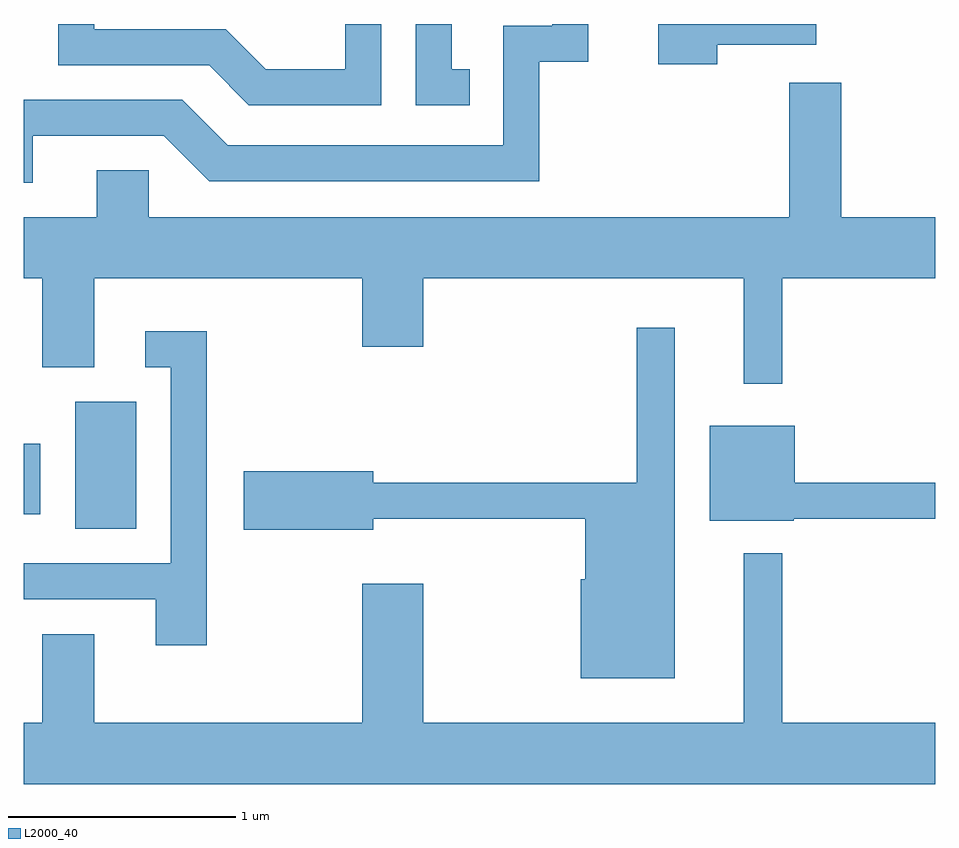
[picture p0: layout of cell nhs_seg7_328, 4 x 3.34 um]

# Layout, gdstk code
import gdstk
lib = gdstk.Library(unit=1e-6, precision=1e-09)
def R(c, l, rs):  # rectangles x0, y0, x1, y1
    for r in rs: c.add(gdstk.rectangle(r[:2], r[2:], *l))
def P(c, l, *ps):  # polygons
    for p in ps: c.add(gdstk.Polygon(p, *l))
L2000_40 = (2000, 40)

nhs_seg7_328 = lib.new_cell('nhs_seg7_328')
R(nhs_seg7_328, L2000_40, [(193.836,1782.036,194.104,1782.594), (193.611,1782.101,193.684,1782.409)])
P(nhs_seg7_328, L2000_40, [(193.649,1783.761),(194.224,1783.761),(194.424,1783.561),(195.874,1783.561),(195.874,1784.086),(196.089,1784.086),(196.089,1784.252),(195.931,1784.252),(195.931,1784.244),(195.716,1784.244),(195.716,1783.719),(194.507,1783.719),(194.307,1783.919),(193.611,1783.919),(193.611,1783.556),(193.649,1783.556)],
  [(196.654,1784.161),(197.089,1784.161),(197.089,1784.252),(196.396,1784.252),(196.396,1784.076),(196.654,1784.076)],
  [(195.179,1784.252),(195.021,1784.252),(195.021,1784.054),(194.672,1784.054),(194.497,1784.229),(193.919,1784.229),(193.919,1784.252),(193.761,1784.252),(193.761,1784.071),(194.424,1784.071),(194.599,1783.896),(195.179,1783.896)],
  [(195.568,1784.054),(195.489,1784.054),(195.489,1784.252),(195.331,1784.252),(195.331,1783.896),(195.568,1783.896)],
  [(196.939,1783.136),(197.611,1783.136),(197.611,1783.404),(197.199,1783.404),(197.199,1783.994),(196.971,1783.994),(196.971,1783.404),(194.159,1783.404),(194.159,1783.609),(193.931,1783.609),(193.931,1783.404),(193.611,1783.404),(193.611,1783.136),(193.691,1783.136),(193.691,1782.746),(193.919,1782.746),(193.919,1783.136),(195.096,1783.136),(195.096,1782.836),(195.364,1782.836),(195.364,1783.136),(196.771,1783.136),(196.771,1782.673),(196.939,1782.673)],
  [(196.469,1782.918),(196.301,1782.918),(196.301,1782.239),(195.144,1782.239),(195.144,1782.289),(194.576,1782.289),(194.576,1782.031),(195.144,1782.031),(195.144,1782.081),(196.076,1782.081),(196.076,1781.814),(196.056,1781.814),(196.056,1781.381),(196.469,1781.381)],
  [(194.414,1782.904),(194.143,1782.904),(194.143,1782.746),(194.256,1782.746),(194.256,1781.884),(193.611,1781.884),(193.611,1781.726),(194.191,1781.726),(194.191,1781.526),(194.414,1781.526)],
  [(196.99,1782.081),(197.611,1782.081),(197.611,1782.239),(196.994,1782.239),(196.994,1782.489),(196.621,1782.489),(196.621,1782.071),(196.99,1782.071)],
  [(197.611,1781.184),(196.939,1781.184),(196.939,1781.928),(196.771,1781.928),(196.771,1781.184),(195.364,1781.184),(195.364,1781.794),(195.096,1781.794),(195.096,1781.184),(193.919,1781.184),(193.919,1781.574),(193.691,1781.574),(193.691,1781.184),(193.611,1781.184),(193.611,1780.916),(197.611,1780.916)])

lib.write_gds('nhs_seg7_328.gds')
